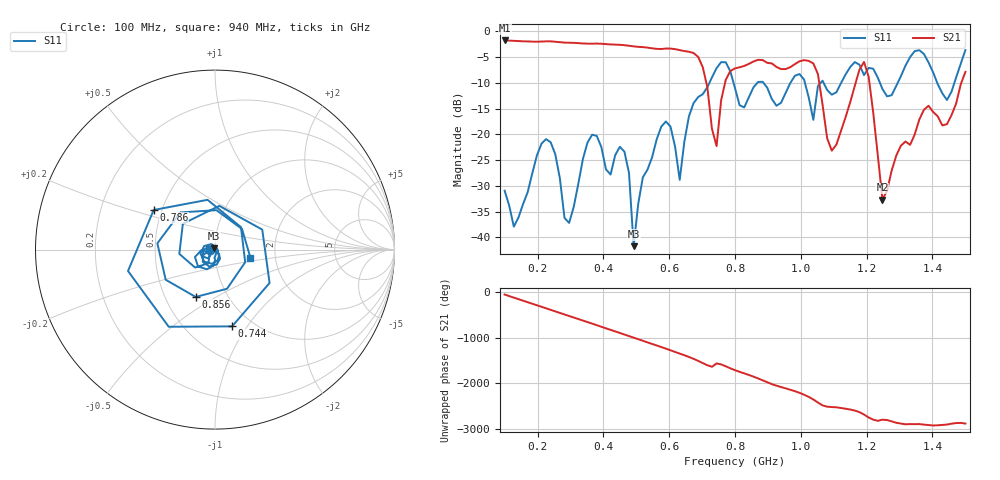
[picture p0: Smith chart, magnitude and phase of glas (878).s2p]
! NanoVNA-App
! Date: 2025-09-25 16:02:18
! Start: 100MHz Stop: 1,5GHz Points: 101
! S-Parameter data: F S11 S21 S12 S22
# Hz S RI R 50
!  Frequency  S11_Real  S11_Imag  S21_Real  S21_Imag  S12_Real  S12_Imag  S22_Real  S22_Imag
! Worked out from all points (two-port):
!   101 points, 100 MHz to 1.5 GHz, reference 50 ohm
!   highest |S21| = -1.80 dB at 100 MHz (marker M1); lowest = -32.7 dB at 1.248 GHz (marker M2)
!   |S21| within 3 dB of the highest: start of sweep to 684.7 MHz
!   lowest |S11| = -41.7 dB at 492 MHz (marker M3), VSWR 1.02, Z = 49.5 + j0.638 ohm
!   |S11| at or under -10 dB: start of sweep to 722.4 MHz; 795.5 MHz to 868 MHz (72.48 MHz wide, 8.71 % of centre); 886.3 MHz to 968.5 MHz (82.28 MHz wide, 8.87 % of centre)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
!   S12 and S22 are empty: the file has one direction only
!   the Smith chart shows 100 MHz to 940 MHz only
!   S11 on the Smith chart (normalised r, x): 100 MHz: 0.94, -0.01; 744 MHz: 0.81, -0.85; 786 MHz: 0.45, +0.24; 856 MHz: 0.71, -0.41; 940 MHz: 1.48, -0.14
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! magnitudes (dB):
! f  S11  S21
! 100 MHz  -30.9  -1.8
! 128 MHz  -37.9  -1.9
! 226 MHz  -20.9  -2.0
! 296 MHz  -37.2  -2.2
! 338 MHz  -24.7  -2.4
! 464 MHz  -23.4  -2.7
! 492 MHz  -41.7  -3.0
! 576 MHz  -18.5  -3.5
! 632 MHz  -28.8  -3.7
! 702 MHz  -12.2  -7.0
! 744 MHz  -7.2  -22.3
! 786 MHz  -7.8  -7.7
! 800 MHz  -11.0  -7.2
! 856 MHz  -10.9  -5.9
! 940 MHz  -13.9  -7.3
! 1.038 GHz  -17.2  -6.3
! 1.094 GHz  -12.3  -23.2
! 1.192 GHz  -8.5  -6.0
! 1.248 GHz  -11.2  -32.7
! 1.276 GHz  -12.4  -27.0
! 1.444 GHz  -13.4  -18.0
! 1.5 GHz  -3.7  -7.9
